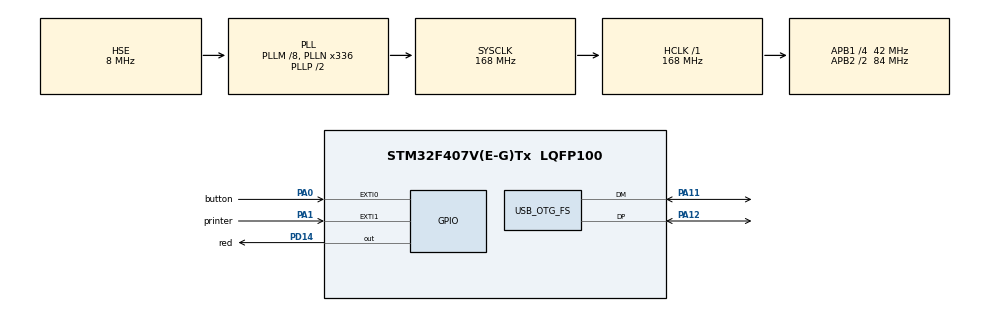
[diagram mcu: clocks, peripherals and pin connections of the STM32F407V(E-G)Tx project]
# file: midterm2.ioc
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Mcu.Family=STM32F4
Mcu.Name=STM32F407V(E-G)Tx
Mcu.Package=LQFP100
NVIC.EXTI0_IRQn=true\:0\:0\:false\:false\:true\:true\:true\:true
NVIC.EXTI1_IRQn=true\:0\:0\:false\:false\:true\:true\:true\:true
NVIC.OTG_FS_IRQn=true\:0\:0\:false\:false\:true\:true\:true\:true
NVIC.PriorityGroup=NVIC_PRIORITYGROUP_0
NVIC.TIM6_DAC_IRQn=true\:0\:0\:false\:false\:true\:true\:true\:true
PA0-WKUP.GPIO_Label=button
PA0-WKUP.GPIO_ModeDefaultEXTI=GPIO_MODE_IT_RISING_FALLING
PA0-WKUP.Signal=GPXTI0
PA1.GPIO_Label=printer
PA1.GPIO_ModeDefaultEXTI=GPIO_MODE_IT_RISING_FALLING
PA1.Signal=GPXTI1
PA11.Mode=Device_Only
PA11.Signal=USB_OTG_FS_DM
PA12.Mode=Device_Only
PA12.Signal=USB_OTG_FS_DP
PA13.Mode=Serial_Wire
PA13.Signal=SYS_JTMS-SWDIO
PA14.Mode=Serial_Wire
PA14.Signal=SYS_JTCK-SWCLK
PC14-OSC32_IN.Mode=LSE-External-Oscillator
PC14-OSC32_IN.Signal=RCC_OSC32_IN
PC15-OSC32_OUT.Mode=LSE-External-Oscillator
PC15-OSC32_OUT.Signal=RCC_OSC32_OUT
PD14.GPIO_Label=red
PD14.Signal=GPIO_Output
PH0-OSC_IN.Mode=HSE-External-Oscillator
PH0-OSC_IN.Signal=RCC_OSC_IN
PH1-OSC_OUT.Mode=HSE-External-Oscillator
PH1-OSC_OUT.Signal=RCC_OSC_OUT
ProjectManager.HeapSize=0x200
ProjectManager.StackSize=0x400
ProjectManager.TargetToolchain=STM32CubeIDE
RCC.48MHZClocksFreq_Value=48000000
RCC.AHBFreq_Value=168000000
RCC.APB1CLKDivider=RCC_HCLK_DIV4
RCC.APB1Freq_Value=42000000
RCC.APB1TimFreq_Value=84000000
RCC.APB2CLKDivider=RCC_HCLK_DIV2
RCC.APB2Freq_Value=84000000
RCC.APB2TimFreq_Value=168000000
RCC.CortexFreq_Value=168000000
RCC.HCLKFreq_Value=168000000
RCC.HSE_VALUE=8000000
RCC.HSI_VALUE=16000000
RCC.PLLM=8
RCC.PLLN=336
RCC.PLLQ=7
RCC.SYSCLKFreq_VALUE=168000000
RCC.SYSCLKSource=RCC_SYSCLKSOURCE_PLLCLK
RCC.VCOOutputFreq_Value=336000000
TIM6.Prescaler=65535
USB_DEVICE.CLASS_NAME_FS=CDC
USB_DEVICE.VirtualMode-CDC_FS=Cdc
USB_DEVICE.VirtualModeFS=Cdc_FS
USB_OTG_FS.VirtualMode=Device_Only
VP_TIM6_VS_ClockSourceINT.Mode=Enable_Timer
VP_USB_DEVICE_VS_USB_DEVICE_CDC_FS.Mode=CDC_FS
board=STM32F407G-DISC1

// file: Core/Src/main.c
/* USER CODE BEGIN Header */
/**
  ******************************************************************************
  * @file           : main.c
  * @brief          : Main program body
  ******************************************************************************
  * @attention
  *
  * Copyright (c) 2022 STMicroelectronics.
  * All rights reserved.
  *
  * This software is licensed under terms that can be found in the LICENSE file
  * in the root directory of this software component.
  * If no LICENSE file comes with this software, it is provided AS-IS.
  *
  ******************************************************************************
  */
/* USER CODE END Header */
#include "main.h"
#include "usb_device.h"

/* USER CODE BEGIN PD */
#define dot  '.'
#define dash '-'
/* USER CODE END PD */

TIM_HandleTypeDef htim6;

void SystemClock_Config(void);
static void MX_GPIO_Init(void);
static void MX_TIM6_Init(void);

/* USER CODE BEGIN 0 */
<<<<<<< Updated upstream
void name(){
	int i=0;
	while (i < 9) {
	  if (strcmp(iteretor, morsecode[i]) == 0) {
	    CDC_Transmit_FS(name_surname[i], strlen(name_surname[i]));
	    for (int y = 0; y < 6; y++) {
	      iteretor[y] = '\0';
	    }
	  }
	  i++;
			}
}
=======

>>>>>>> Stashed changes
/* USER CODE END 0 */

int main(void)
{

  /* MCU Configuration--------------------------------------------------------*/

  /* Reset of all peripherals, Initializes the Flash interface and the Systick. */
  HAL_Init();

  /* Configure the system clock */
  SystemClock_Config();

  /* Initialize all configured peripherals */
  MX_GPIO_Init();
  MX_TIM6_Init();
  MX_USB_DEVICE_Init();
  /* USER CODE BEGIN 2 */
  HAL_TIM_Base_Start(&htim6);

  /* USER CODE END 2 */

  /* Infinite loop */
  while (1)
  {

  }
}

void SystemClock_Config(void)
{
  RCC_OscInitTypeDef RCC_OscInitStruct = {0};
  RCC_ClkInitTypeDef RCC_ClkInitStruct = {0};

  /** Configure the main internal regulator output voltage
  */
  __HAL_RCC_PWR_CLK_ENABLE();
  __HAL_PWR_VOLTAGESCALING_CONFIG(PWR_REGULATOR_VOLTAGE_SCALE1);

  /** Initializes the RCC Oscillators according to the specified parameters
  * in the RCC_OscInitTypeDef structure.
  */
  RCC_OscInitStruct.OscillatorType = RCC_OSCILLATORTYPE_HSE;
  RCC_OscInitStruct.HSEState = RCC_HSE_ON;
  RCC_OscInitStruct.PLL.PLLState = RCC_PLL_ON;
  RCC_OscInitStruct.PLL.PLLSource = RCC_PLLSOURCE_HSE;
  RCC_OscInitStruct.PLL.PLLM = 8;
  RCC_OscInitStruct.PLL.PLLN = 336;
  RCC_OscInitStruct.PLL.PLLP = RCC_PLLP_DIV2;
  RCC_OscInitStruct.PLL.PLLQ = 7;
  if (HAL_RCC_OscConfig(&RCC_OscInitStruct) != HAL_OK)
  {
    Error_Handler();
  }

  /** Initializes the CPU, AHB and APB buses clocks
  */
  RCC_ClkInitStruct.ClockType = RCC_CLOCKTYPE_HCLK|RCC_CLOCKTYPE_SYSCLK
                              |RCC_CLOCKTYPE_PCLK1|RCC_CLOCKTYPE_PCLK2;
  RCC_ClkInitStruct.SYSCLKSource = RCC_SYSCLKSOURCE_PLLCLK;
  RCC_ClkInitStruct.AHBCLKDivider = RCC_SYSCLK_DIV1;
  RCC_ClkInitStruct.APB1CLKDivider = RCC_HCLK_DIV4;
  RCC_ClkInitStruct.APB2CLKDivider = RCC_HCLK_DIV2;

  if (HAL_RCC_ClockConfig(&RCC_ClkInitStruct, FLASH_LATENCY_5) != HAL_OK)
  {
    Error_Handler();
  }
}

static void MX_TIM6_Init(void)
{

  TIM_MasterConfigTypeDef sMasterConfig = {0};

  htim6.Instance = TIM6;
  htim6.Init.Prescaler = 65535;
  htim6.Init.CounterMode = TIM_COUNTERMODE_UP;
  htim6.Init.Period = 65535;
  htim6.Init.AutoReloadPreload = TIM_AUTORELOAD_PRELOAD_DISABLE;
  if (HAL_TIM_Base_Init(&htim6) != HAL_OK)
  {
    Error_Handler();
  }
  sMasterConfig.MasterOutputTrigger = TIM_TRGO_RESET;
  sMasterConfig.MasterSlaveMode = TIM_MASTERSLAVEMODE_DISABLE;
  if (HAL_TIMEx_MasterConfigSynchronization(&htim6, &sMasterConfig) != HAL_OK)
  {
    Error_Handler();
  }

}

static void MX_GPIO_Init(void)
{
  GPIO_InitTypeDef GPIO_InitStruct = {0};

  /* GPIO Ports Clock Enable */
  __HAL_RCC_GPIOC_CLK_ENABLE();
  __HAL_RCC_GPIOH_CLK_ENABLE();
  __HAL_RCC_GPIOA_CLK_ENABLE();
  __HAL_RCC_GPIOD_CLK_ENABLE();

  /*Configure GPIO pin Output Level */
  HAL_GPIO_WritePin(red_GPIO_Port, red_Pin, GPIO_PIN_RESET);

  /*Configure GPIO pins : button_Pin printer_Pin */
  GPIO_InitStruct.Pin = button_Pin|printer_Pin;
  GPIO_InitStruct.Mode = GPIO_MODE_IT_RISING_FALLING;
  GPIO_InitStruct.Pull = GPIO_NOPULL;
  HAL_GPIO_Init(GPIOA, &GPIO_InitStruct);

  /*Configure GPIO pin : red_Pin */
  GPIO_InitStruct.Pin = red_Pin;
  GPIO_InitStruct.Mode = GPIO_MODE_OUTPUT_PP;
  GPIO_InitStruct.Pull = GPIO_NOPULL;
  GPIO_InitStruct.Speed = GPIO_SPEED_FREQ_LOW;
  HAL_GPIO_Init(red_GPIO_Port, &GPIO_InitStruct);

  /* EXTI interrupt init*/
  HAL_NVIC_SetPriority(EXTI0_IRQn, 0, 0);
  HAL_NVIC_EnableIRQ(EXTI0_IRQn);

  HAL_NVIC_SetPriority(EXTI1_IRQn, 0, 0);
  HAL_NVIC_EnableIRQ(EXTI1_IRQn);

}

/* USER CODE BEGIN 4 */
char *morsecode[]={"--","..","--",".-.","-","..-","-.--","--..","-.-."};
char *name_surname[]={"A","I","M","R","T","U","Y","Z","C"};
char iterator[10];
int i = 0;
uint32_t pressTime;
int pressCounter;

void name(){
	int x=0;
	while (x < 9) {
	  if (strcmp(iterator, morsecode[x]) == 0) {
	    CDC_Transmit_FS(name_surname[x], strlen(name_surname[x]));
	  }
	  x++;
	}
}
void clean(){
	int y = 0;
	while (y < 10) {
	  iterator[y] = '\0';
	  y++;
	}
		    }
void HAL_GPIO_EXTI_Callback(uint16_t GPIO_Pin){
  while (GPIO_Pin == button_Pin) {
    if (HAL_GPIO_ReadPin(button_GPIO_Port, button_Pin)) {
      (TIM6->CNT) = 0;
      pressCounter = 0;
      HAL_GPIO_WritePin(red_GPIO_Port, red_Pin, 1);
    } else {
      pressTime = (TIM6->CNT);
      HAL_GPIO_WritePin(red_GPIO_Port, red_Pin, 0);
      (TIM6->CNT) = 0;
      while (pressTime > 250 && pressTime < 500) {
        iterator[i] = dot;
        i++;
      }
      while (pressTime >= 500) {
        iterator[i] = dash;
        i++;
      }
      while (i == 4 || pressCounter) {
        name();
        clean();
        i = 0;
      }
    }
  }
  while (GPIO_Pin == printer_Pin) {
    pressCounter = 1;
    while (i == 4 || pressCounter) {
      name();
      clean();
      i = 0;
    }
  }
}

/* USER CODE END 4 */

void Error_Handler(void)
{
  __disable_irq();
  while (1)
  {
  }
}
